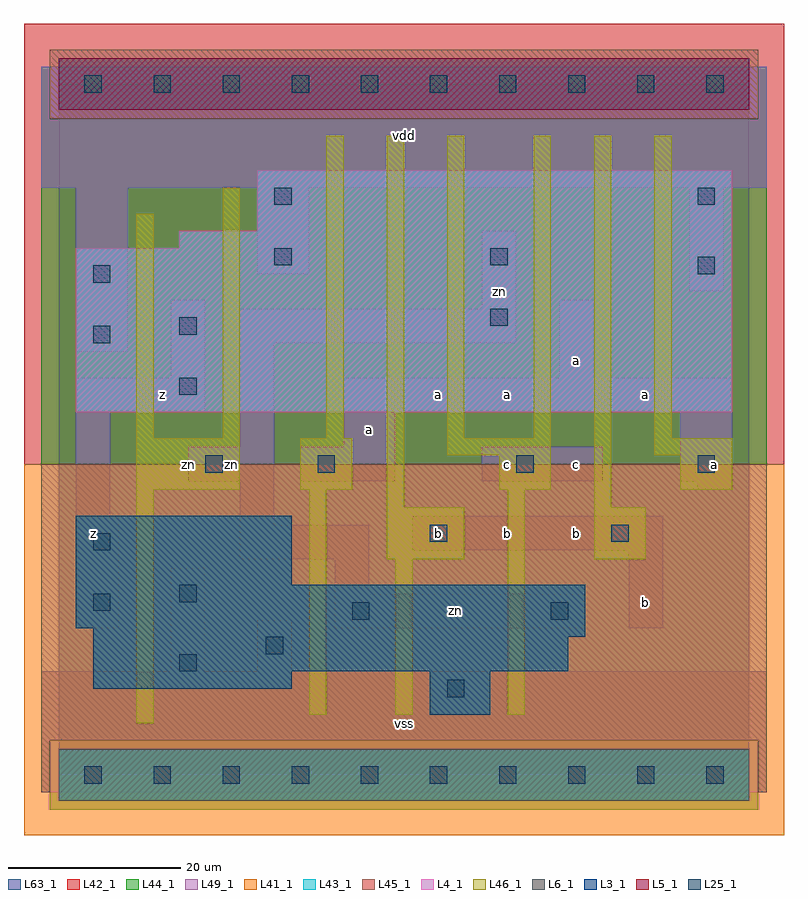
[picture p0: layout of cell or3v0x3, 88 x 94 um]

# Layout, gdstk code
import gdstk
lib = gdstk.Library(unit=1e-6, precision=1e-09)
def R(c, l, rs):  # rectangles x0, y0, x1, y1
    for r in rs: c.add(gdstk.rectangle(r[:2], r[2:], *l))
def A(c, l, x, y, w, h, nx, ny, dx, dy):  # array of equal rectangles
    R(c, l, [(x+i*dx, y+j*dy, x+i*dx+w, y+j*dy+h) for i in range(nx) for j in range(ny)])
L3_1 = (3, 1)
L4_1 = (4, 1)
L5_1 = (5, 1)
L6_1 = (6, 1)
L25_1 = (25, 1)
L41_1 = (41, 1)
L42_1 = (42, 1)
L43_1 = (43, 1)
L44_1 = (44, 1)
L45_1 = (45, 1)
L46_1 = (46, 1)
L49_1 = (49, 1)
L63_1 = (63, 1)

or3v0x3 = lib.new_cell('or3v0x3')
R(or3v0x3, L3_1, [(43,7,50,12), (4,10,27,12), (4,12,59,16), (4,16,61,17), (2,17,61,22), (2,22,27,30)])
R(or3v0x3, L4_1, [(2,42,78,61), (14,61,78,63), (23,63,78,70)])
R(or3v0x3, L5_1, [(0,77,80,83)])
R(or3v0x3, L6_1, [(0,-3,80,3), (0,-3,80,3)])
A(or3v0x3, L25_1, 3, -1, 2, 2, 10, 2, 8, 80)
R(or3v0x3, L25_1, [(45,9,47,11), (14,12,16,14), (24,14,26,16), (34,18,36,20), (57,18,59,20), (4,19,6,21), (14,20,16,22), (4,26,6,28), (43,27,45,29), (64,27,66,29), (17,35,19,37), (30,35,32,37), (53,35,55,37), (74,35,76,37), (14,44,16,46), (4,50,6,52), (14,51,16,53), (50,52,52,54), (4,57,6,59), (74,58,76,60), (25,59,27,61), (50,59,52,61), (25,66,27,68), (74,66,76,68)])
R(or3v0x3, L41_1, [(-4,-7,84,36)])
R(or3v0x3, L42_1, [(-4,36,84,87)])
R(or3v0x3, L43_1, [(0,-3,80,3), (43,7,50,12), (4,10,27,12), (4,12,59,16), (4,16,61,17), (2,17,61,22), (2,22,27,30), (2,42,78,61), (14,61,78,63), (23,63,78,70), (0,77,80,83)])
R(or3v0x3, L44_1, [(-1,-4,81,4), (-2,36,82,76), (-2,76,-1,82), (81,76,82,82)])
R(or3v0x3, L45_1, [(-2,-2,-1,4), (81,-2,82,4), (-2,4,82,36), (-1,76,81,84)])
R(or3v0x3, L46_1, [(9,6,11,33), (29,7,31,33), (39,7,41,25), (52,7,54,33), (38,25,47,31), (62,25,68,31), (38,31,40,74), (62,31,64,74), (9,33,21,39), (28,33,34,39), (51,33,57,37), (72,33,78,37), (45,37,57,39), (69,37,78,39), (9,39,11,65), (19,39,21,68), (31,39,33,74), (45,39,47,74), (55,39,57,74), (69,39,71,74)])
R(or3v0x3, L49_1, [(-2,-2,82,12), (13,12,17,24), (23,12,27,18), (2,17,7,30), (32,17,61,21), (66,17,70,26), (32,21,36,25), (21,25,36,29), (41,26,70,30), (21,29,25,34), (2,30,6,42), (74,33,78,34), (15,34,25,38), (28,34,39,38), (49,34,63,38), (72,34,78,42), (21,38,25,50), (33,38,39,42), (2,42,17,46), (33,42,78,46), (13,46,17,55), (58,46,62,55), (2,49,8,68), (21,50,53,54), (49,54,53,63), (73,56,77,68), (23,58,29,68), (-2,68,82,82)])
R(or3v0x3, L63_1, [(0,0,80,80)])
or3v0x3.add(gdstk.Label('zn', (15,36), layer=46, texttype=1))
or3v0x3.add(gdstk.Label('z', (4,28), layer=49, texttype=1))
or3v0x3.add(gdstk.Label('z', (12,44), layer=49, texttype=1))
or3v0x3.add(gdstk.Label('zn', (20,36), layer=49, texttype=1))
or3v0x3.add(gdstk.Label('vss', (40,6), layer=49, texttype=1))
or3v0x3.add(gdstk.Label('b', (44,28), layer=49, texttype=1))
or3v0x3.add(gdstk.Label('a', (44,44), layer=49, texttype=1))
or3v0x3.add(gdstk.Label('a', (36,40), layer=49, texttype=1))
or3v0x3.add(gdstk.Label('vdd', (40,74), layer=49, texttype=1))
or3v0x3.add(gdstk.Label('b', (52,28), layer=49, texttype=1))
or3v0x3.add(gdstk.Label('zn', (46,19), layer=49, texttype=1))
or3v0x3.add(gdstk.Label('b', (60,28), layer=49, texttype=1))
or3v0x3.add(gdstk.Label('c', (52,36), layer=49, texttype=1))
or3v0x3.add(gdstk.Label('a', (52,44), layer=49, texttype=1))
or3v0x3.add(gdstk.Label('c', (60,36), layer=49, texttype=1))
or3v0x3.add(gdstk.Label('a', (60,48), layer=49, texttype=1))
or3v0x3.add(gdstk.Label('zn', (51,56), layer=49, texttype=1))
or3v0x3.add(gdstk.Label('b', (68,20), layer=49, texttype=1))
or3v0x3.add(gdstk.Label('a', (68,44), layer=49, texttype=1))
or3v0x3.add(gdstk.Label('a', (76,36), layer=49, texttype=1))

lib.write_gds('or3v0x3.gds')
